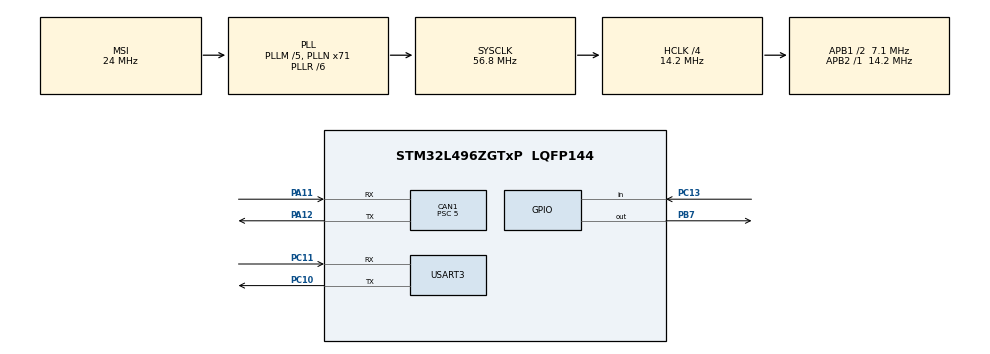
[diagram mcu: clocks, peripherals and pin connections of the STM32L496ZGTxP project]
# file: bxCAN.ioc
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CAN1.BS1=CAN_BS1_8TQ
CAN1.CalculateBaudRate=142000
CAN1.CalculateTimeBit=7042
CAN1.CalculateTimeQuantum=704.225352112676
CAN1.Mode=CAN_MODE_LOOPBACK
CAN1.NART=ENABLE
CAN1.Prescaler=5
Mcu.Family=STM32L4
Mcu.Name=STM32L496ZGTxP
Mcu.Package=LQFP144
NVIC.PriorityGroup=NVIC_PRIORITYGROUP_4
NVIC.USART3_IRQn=true\:0\:0\:false\:false\:true\:true\:true\:true
PA11.Mode=CAN_Activate
PA11.Signal=CAN1_RX
PA12.Mode=CAN_Activate
PA12.Signal=CAN1_TX
PB7.Signal=GPIO_Output
PC10.Mode=Asynchronous
PC10.Signal=USART3_TX
PC11.Mode=Asynchronous
PC11.Signal=USART3_RX
PC13.Signal=GPIO_Input
PH0-OSC_IN\ (PH0).Mode=HSE-External-Oscillator
PH0-OSC_IN\ (PH0).Signal=RCC_OSC_IN
PH1-OSC_OUT\ (PH1).Mode=HSE-External-Oscillator
PH1-OSC_OUT\ (PH1).Signal=RCC_OSC_OUT
ProjectManager.HeapSize=0x200
ProjectManager.StackSize=0x400
ProjectManager.TargetToolchain=STM32CubeIDE
RCC.48MHZClocksFreq_Value=24000000
RCC.ADCFreq_Value=48000000
RCC.AHBCLKDivider=RCC_SYSCLK_DIV4
RCC.AHBFreq_Value=14200000
RCC.APB1CLKDivider=RCC_HCLK_DIV2
RCC.APB1Freq_Value=7100000
RCC.APB1TimFreq_Value=14200000
RCC.APB2Freq_Value=14200000
RCC.APB2TimFreq_Value=14200000
RCC.CortexFreq_Value=14200000
RCC.HCLKFreq_Value=14200000
RCC.HSE_VALUE=8000000
RCC.HSI48_VALUE=48000000
RCC.HSI_VALUE=16000000
RCC.MSIClockRange=RCC_MSIRANGE_9
RCC.MSI_VALUE=24000000
RCC.PLLM=5
RCC.PLLMUL=RCC_PLL_MUL9
RCC.PLLN=71
RCC.PLLR=RCC_PLLR_DIV6
RCC.PLLSAI1N=20
RCC.PRESCALERUSB=RCC_USBCLKSOURCE_PLL_DIV1_5
RCC.SYSCLKFreq_VALUE=56800000
RCC.SYSCLKSource=RCC_SYSCLKSOURCE_PLLCLK
RCC.SYSCLKSourceVirtual=RCC_SYSCLKSOURCE_PLLCLK
RCC.USBFreq_Value=48000000
RCC.VCOOutputFreq_Value=340800000
USART3.VirtualMode-Asynchronous=VM_ASYNC
board=NUCLEO-L496ZG-P

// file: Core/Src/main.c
/* USER CODE BEGIN Header */
/**
  ******************************************************************************
  * @file           : main.c
  * @brief          : Main program body
  ******************************************************************************
  * @attention
  *
  * Copyright (c) 2023 STMicroelectronics.
  * All rights reserved.
  *
  * This software is licensed under terms that can be found in the LICENSE file
  * in the root directory of this software component.
  * If no LICENSE file comes with this software, it is provided AS-IS.
  *
  ******************************************************************************
  */
/* USER CODE END Header */
#include "main.h"

/* USER CODE BEGIN Includes */
#include<stdio.h>
#include<string.h>
/* USER CODE END Includes */

CAN_HandleTypeDef hcan1;

UART_HandleTypeDef huart3;

void SystemClock_Config(void);
static void MX_GPIO_Init(void);
static void MX_CAN1_Init(void);
static void MX_USART3_UART_Init(void);
/* USER CODE BEGIN PFP */
void CAN1_Tx(void);
void CAN1_Rx(void);
void CAN_Filter_Config(void);
/* USER CODE END PFP */

int main(void)
{

  /* MCU Configuration--------------------------------------------------------*/

  /* Reset of all peripherals, Initializes the Flash interface and the Systick. */
  HAL_Init();

  /* Configure the system clock */
  SystemClock_Config();

  /* Initialize all configured peripherals */
  MX_GPIO_Init();
  MX_CAN1_Init();
  MX_USART3_UART_Init();
  /* USER CODE BEGIN 2 */

  CAN_Filter_Config();

  if(HAL_CAN_Start(&hcan1) != HAL_OK){
	  Error_Handler();
  }

  CAN1_Tx();
  CAN1_Rx();

  /* USER CODE END 2 */

  /* Infinite loop */
  while (1)
  {

  }
}

void SystemClock_Config(void)
{
  RCC_OscInitTypeDef RCC_OscInitStruct = {0};
  RCC_ClkInitTypeDef RCC_ClkInitStruct = {0};

  /** Configure the main internal regulator output voltage
  */
  if (HAL_PWREx_ControlVoltageScaling(PWR_REGULATOR_VOLTAGE_SCALE1) != HAL_OK)
  {
    Error_Handler();
  }

  /** Initializes the RCC Oscillators according to the specified parameters
  * in the RCC_OscInitTypeDef structure.
  */
  RCC_OscInitStruct.OscillatorType = RCC_OSCILLATORTYPE_MSI;
  RCC_OscInitStruct.MSIState = RCC_MSI_ON;
  RCC_OscInitStruct.MSICalibrationValue = 0;
  RCC_OscInitStruct.MSIClockRange = RCC_MSIRANGE_9;
  RCC_OscInitStruct.PLL.PLLState = RCC_PLL_ON;
  RCC_OscInitStruct.PLL.PLLSource = RCC_PLLSOURCE_MSI;
  RCC_OscInitStruct.PLL.PLLM = 5;
  RCC_OscInitStruct.PLL.PLLN = 71;
  RCC_OscInitStruct.PLL.PLLP = RCC_PLLP_DIV2;
  RCC_OscInitStruct.PLL.PLLQ = RCC_PLLQ_DIV2;
  RCC_OscInitStruct.PLL.PLLR = RCC_PLLR_DIV6;
  if (HAL_RCC_OscConfig(&RCC_OscInitStruct) != HAL_OK)
  {
    Error_Handler();
  }

  /** Initializes the CPU, AHB and APB buses clocks
  */
  RCC_ClkInitStruct.ClockType = RCC_CLOCKTYPE_HCLK|RCC_CLOCKTYPE_SYSCLK
                              |RCC_CLOCKTYPE_PCLK1|RCC_CLOCKTYPE_PCLK2;
  RCC_ClkInitStruct.SYSCLKSource = RCC_SYSCLKSOURCE_PLLCLK;
  RCC_ClkInitStruct.AHBCLKDivider = RCC_SYSCLK_DIV4;
  RCC_ClkInitStruct.APB1CLKDivider = RCC_HCLK_DIV2;
  RCC_ClkInitStruct.APB2CLKDivider = RCC_HCLK_DIV1;

  if (HAL_RCC_ClockConfig(&RCC_ClkInitStruct, FLASH_LATENCY_0) != HAL_OK)
  {
    Error_Handler();
  }
}

static void MX_CAN1_Init(void)
{

  hcan1.Instance = CAN1;
  hcan1.Init.Prescaler = 5;
  hcan1.Init.Mode = CAN_MODE_LOOPBACK;
  hcan1.Init.SyncJumpWidth = CAN_SJW_1TQ;
  hcan1.Init.TimeSeg1 = CAN_BS1_8TQ;
  hcan1.Init.TimeSeg2 = CAN_BS2_1TQ;
  hcan1.Init.TimeTriggeredMode = DISABLE;
  hcan1.Init.AutoBusOff = DISABLE;
  hcan1.Init.AutoWakeUp = DISABLE;
  hcan1.Init.AutoRetransmission = ENABLE;
  hcan1.Init.ReceiveFifoLocked = DISABLE;
  hcan1.Init.TransmitFifoPriority = DISABLE;
  if (HAL_CAN_Init(&hcan1) != HAL_OK)
  {
    Error_Handler();
  }

}

static void MX_USART3_UART_Init(void)
{

  huart3.Instance = USART3;
  huart3.Init.BaudRate = 115200;
  huart3.Init.WordLength = UART_WORDLENGTH_8B;
  huart3.Init.StopBits = UART_STOPBITS_1;
  huart3.Init.Parity = UART_PARITY_NONE;
  huart3.Init.Mode = UART_MODE_TX_RX;
  huart3.Init.HwFlowCtl = UART_HWCONTROL_NONE;
  huart3.Init.OverSampling = UART_OVERSAMPLING_16;
  huart3.Init.OneBitSampling = UART_ONE_BIT_SAMPLE_DISABLE;
  huart3.AdvancedInit.AdvFeatureInit = UART_ADVFEATURE_NO_INIT;
  if (HAL_UART_Init(&huart3) != HAL_OK)
  {
    Error_Handler();
  }

}

static void MX_GPIO_Init(void)
{
  GPIO_InitTypeDef GPIO_InitStruct = {0};

  /* GPIO Ports Clock Enable */
  __HAL_RCC_GPIOC_CLK_ENABLE();
  __HAL_RCC_GPIOH_CLK_ENABLE();
  __HAL_RCC_GPIOA_CLK_ENABLE();
  __HAL_RCC_GPIOB_CLK_ENABLE();

  /*Configure GPIO pin Output Level */
  HAL_GPIO_WritePin(GPIOB, GPIO_PIN_7, GPIO_PIN_RESET);

  /*Configure GPIO pin : PC13 */
  GPIO_InitStruct.Pin = GPIO_PIN_13;
  GPIO_InitStruct.Mode = GPIO_MODE_INPUT;
  GPIO_InitStruct.Pull = GPIO_NOPULL;
  HAL_GPIO_Init(GPIOC, &GPIO_InitStruct);

  /*Configure GPIO pin : PB7 */
  GPIO_InitStruct.Pin = GPIO_PIN_7;
  GPIO_InitStruct.Mode = GPIO_MODE_OUTPUT_PP;
  GPIO_InitStruct.Pull = GPIO_NOPULL;
  GPIO_InitStruct.Speed = GPIO_SPEED_FREQ_LOW;
  HAL_GPIO_Init(GPIOB, &GPIO_InitStruct);

}

/* USER CODE BEGIN 4 */
void CAN1_Tx(void){
	CAN_TxHeaderTypeDef TxHeader;
	char msg[50];
	uint32_t TxMailbox;
	uint8_t our_message[5]={'H','E','L','L','o'};

	TxHeader.DLC = 5;
	TxHeader.StdId = 0x65D;
	TxHeader.IDE = CAN_ID_STD;
	TxHeader.RTR = CAN_RTR_DATA;

	if (HAL_CAN_AddTxMessage(&hcan1, &TxHeader	, our_message	, &TxMailbox) != HAL_OK){
		Error_Handler();
	}

	while(HAL_CAN_IsTxMessagePending(&hcan1, TxMailbox));

	sprintf(msg,"Message Transmitted \r\n");
	HAL_UART_Transmit(&huart3, (uint8_t*)msg, strlen(msg), HAL_MAX_DELAY);
}

void CAN1_Rx(void){
	CAN_RxHeaderTypeDef RxHeader;

	uint8_t rcvd_msg[5];
	char msg[50];

	while( ! HAL_CAN_GetRxFifoFillLevel(&hcan1, CAN_RX_FIFO0));

	if(HAL_CAN_GetRxMessage(&hcan1,CAN_RX_FIFO0, &RxHeader, rcvd_msg) != HAL_OK){
		Error_Handler();
	}

	sprintf(msg,"Message is Received : %s\r\n",rcvd_msg);
	HAL_UART_Transmit(&huart3, (uint8_t*)msg, strlen(msg), HAL_MAX_DELAY);
}

void CAN_Filter_Config(void){

	CAN_FilterTypeDef can1_filter_init;

	can1_filter_init.FilterActivation = ENABLE;
	can1_filter_init.FilterBank =0;
	can1_filter_init.FilterFIFOAssignment = CAN_RX_FIFO0;
	can1_filter_init.FilterIdHigh = 0x0000;
	can1_filter_init.FilterIdLow = 0x0000;
	can1_filter_init.FilterMaskIdHigh = 0x0000;
	can1_filter_init.FilterMaskIdLow = 0x0000;
	can1_filter_init.FilterMode=CAN_FILTERMODE_IDMASK;
	can1_filter_init.FilterScale=CAN_FILTERSCALE_32BIT;

	if (  HAL_CAN_ConfigFilter(&hcan1, &can1_filter_init) != HAL_OK){
		Error_Handler();
	}
}
/* USER CODE END 4 */

void Error_Handler(void)
{
  __disable_irq();
  while (1)
  {
  }
}
